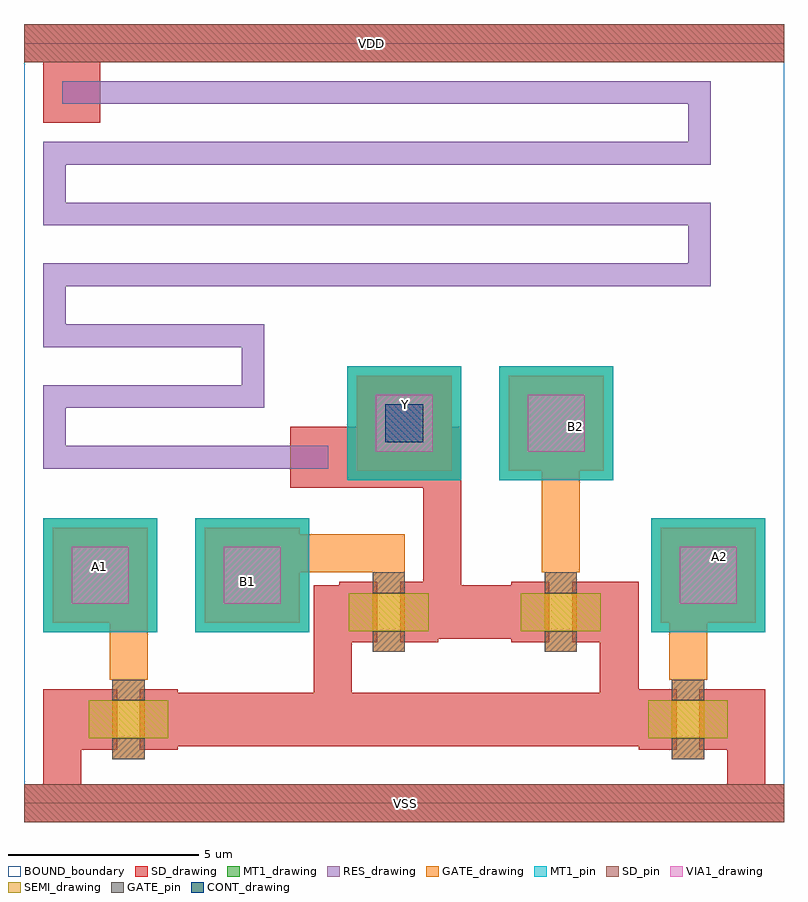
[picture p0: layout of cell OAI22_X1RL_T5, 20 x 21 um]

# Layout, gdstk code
from math import pi, radians
import gdstk
lib = gdstk.Library(unit=1e-6, precision=1e-09)
def R(c, l, rs):  # rectangles x0, y0, x1, y1
    for r in rs: c.add(gdstk.rectangle(r[:2], r[2:], *l))
def P(c, l, *ps):  # polygons
    for p in ps: c.add(gdstk.Polygon(p, *l))
RES_drawing = (1, 0)
SEMI_drawing = (3, 0)
SD_drawing = (10, 0)
SD_pin = (10, 3)
GATE_drawing = (11, 0)
GATE_pin = (11, 3)
MT1_drawing = (20, 0)
MT1_pin = (20, 3)
CONT_drawing = (30, 0)
VIA1_drawing = (41, 0)
BOUND_boundary = (150, 5)

nch_cdns_772545103540 = lib.new_cell('nch_CDNS_772545103540')
R(nch_cdns_772545103540, SEMI_drawing, [(-1.05,-0.5,1.05,0.5)])
R(nch_cdns_772545103540, SD_drawing, [(-1.3,-0.8,-0.3,0.8), (0.3,-0.8,1.3,0.8)])
R(nch_cdns_772545103540, GATE_drawing, [(-0.425,-1.05,0.425,1.05)])
R(nch_cdns_772545103540, GATE_pin, [(-0.425,-1.05,0.425,-0.5), (-0.425,0.5,0.425,1.05)])

gate_mt1_cdns_7725451035 = lib.new_cell('GATE_MT1_CDNS_772545103540')
R(gate_mt1_cdns_7725451035, GATE_drawing, [(-1.25,-1.25,1.25,1.25)])
R(gate_mt1_cdns_7725451035, MT1_drawing, [(-1.25,-1.25,1.25,1.25)])
R(gate_mt1_cdns_7725451035, VIA1_drawing, [(-0.75,-0.75,0.75,0.75)])

sd_gate_cdns_77254510354 = lib.new_cell('SD_GATE_CDNS_772545103541')
R(sd_gate_cdns_77254510354, SD_drawing, [(-1.25,-1.25,1.25,1.25)])
R(sd_gate_cdns_77254510354, GATE_drawing, [(-1.25,-1.25,1.25,1.25)])
R(sd_gate_cdns_77254510354, CONT_drawing, [(-0.5,-0.5,0.5,0.5)])

oai22_x1rl_t5 = lib.new_cell('OAI22_X1RL_T5')
R(oai22_x1rl_t5, SD_drawing, [(0,-0.5,20,0.5), (0.5,0.5,1.5,3), (18.5,0.5,19.5,3), (7.625,2.9,8.625,5.725), (15.15,2.9,16.175,5.825), (10.5,4.325,11.5,8.3), (7,8.3,8.5,9.9), (0.5,17.9,2,19.5), (0,19.5,20,20.5)])
R(oai22_x1rl_t5, SD_pin, [(0,-0.5,20,0.5), (0,19.5,20,20.5)])
R(oai22_x1rl_t5, GATE_drawing, [(7.25,6.075,10.025,7.075)])
P(oai22_x1rl_t5, GATE_drawing, [(17.975,3.35),(16.975,3.35),(16.975,3.25),(17.1,3.25),(17.1,3.2),(17.85,3.2),(17.85,3.25),(17.975,3.25)],
  [(14.625,6.175),(13.625,6.175),(13.625,6.075),(13.75,6.075),(13.75,6.025),(14.5,6.025),(14.5,6.075),(14.625,6.075)],
  [(10.025,6.175),(9.15,6.175),(9.15,6.075),(9.275,6.075),(9.275,6.025),(10.025,6.025)],
  [(3.25,3.35),(2.25,3.35),(2.25,3.25),(2.375,3.25),(2.375,3.2),(3.125,3.2),(3.125,3.25),(3.25,3.25)])
R(oai22_x1rl_t5, MT1_drawing, [(0.5,4.5,3.5,7.5), (4.5,4.5,7.5,7.5), (16.5,4.5,19.5,7.5), (8.5,8.5,11.5,11.5), (12.5,8.5,15.5,11.5)])
R(oai22_x1rl_t5, MT1_pin, [(0.5,4.5,3.5,7.5), (4.5,4.5,7.5,7.5), (16.5,4.5,19.5,7.5), (8.5,8.5,11.5,11.5), (12.5,8.5,15.5,11.5)])
R(oai22_x1rl_t5, BOUND_boundary, [(0,0,20,20)])
oai22_x1rl_t5.add(gdstk.FlexPath([(14.125,6.175),(14.125,8.8)], 1, ends="flush", simple_path=True, layer=11, datatype=0))  # GATE_drawing
oai22_x1rl_t5.add(gdstk.FlexPath([(17.475,3.35),(17.475,4.85)], 1, ends="flush", simple_path=True, layer=11, datatype=0))  # GATE_drawing
oai22_x1rl_t5.add(gdstk.FlexPath([(2.75,3.35),(2.75,5.2)], 1, ends="flush", simple_path=True, layer=11, datatype=0))  # GATE_drawing
oai22_x1rl_t5.add(gdstk.FlexPath([(8.5,9.1),(11.5,9.1)], 1.6, ends="flush", simple_path=True, layer=10, datatype=0))  # SD_drawing
oai22_x1rl_t5.add(gdstk.FlexPath([(10.9,5.025),(12.825,5.025)], 1.4, ends="flush", simple_path=True, layer=10, datatype=0))  # SD_drawing
oai22_x1rl_t5.add(gdstk.FlexPath([(4.05,2.2),(16.175,2.2)], 1.4, ends="flush", simple_path=True, layer=10, datatype=0))  # SD_drawing
oai22_x1rl_t5.add(gdstk.FlexPath([(2,18.7),(17.775,18.7),(17.775,17.1),(0.8,17.1),(0.8,15.5),(17.775,15.5),(17.775,13.9),(0.8,13.9),(0.8,12.3),(6.025,12.3),(6.025,10.7),(0.8,10.7),(0.8,9.1),(7,9.1)], 0.6, ends=(1, 1), simple_path=True, layer=1, datatype=0))  # RES_drawing
oai22_x1rl_t5.add(gdstk.Reference(nch_cdns_772545103540, (14.125,5.025), rotation=pi))
oai22_x1rl_t5.add(gdstk.Reference(nch_cdns_772545103540, (17.475,2.2), rotation=pi))
oai22_x1rl_t5.add(gdstk.Reference(nch_cdns_772545103540, (2.75,2.2)))
oai22_x1rl_t5.add(gdstk.Reference(nch_cdns_772545103540, (9.6,5.025)))
oai22_x1rl_t5.add(gdstk.Reference(gate_mt1_cdns_7725451035, (2,6)))
oai22_x1rl_t5.add(gdstk.Reference(gate_mt1_cdns_7725451035, (6,6)))
oai22_x1rl_t5.add(gdstk.Reference(gate_mt1_cdns_7725451035, (10,10)))
oai22_x1rl_t5.add(gdstk.Reference(gate_mt1_cdns_7725451035, (18,6)))
oai22_x1rl_t5.add(gdstk.Reference(gate_mt1_cdns_7725451035, (14,10)))
oai22_x1rl_t5.add(gdstk.Reference(sd_gate_cdns_77254510354, (10,10)))
oai22_x1rl_t5.add(gdstk.Label('VDD', (9.15,20), layer=10, texttype=3))
oai22_x1rl_t5.add(gdstk.Label('VSS', (10.05,0), layer=10, texttype=3))
oai22_x1rl_t5.add(gdstk.Label('Y', (10.05,10.5), layer=20, texttype=3))
oai22_x1rl_t5.add(gdstk.Label('B2', (14.525,9.9), layer=20, texttype=3))
oai22_x1rl_t5.add(gdstk.Label('B1', (5.875,5.825), layer=20, texttype=3))
oai22_x1rl_t5.add(gdstk.Label('A2', (18.3,6.5), layer=20, texttype=3))
oai22_x1rl_t5.add(gdstk.Label('A1', (1.975,6.225), layer=20, texttype=3))

lib.write_gds('OAI22_X1RL_T5.gds')
